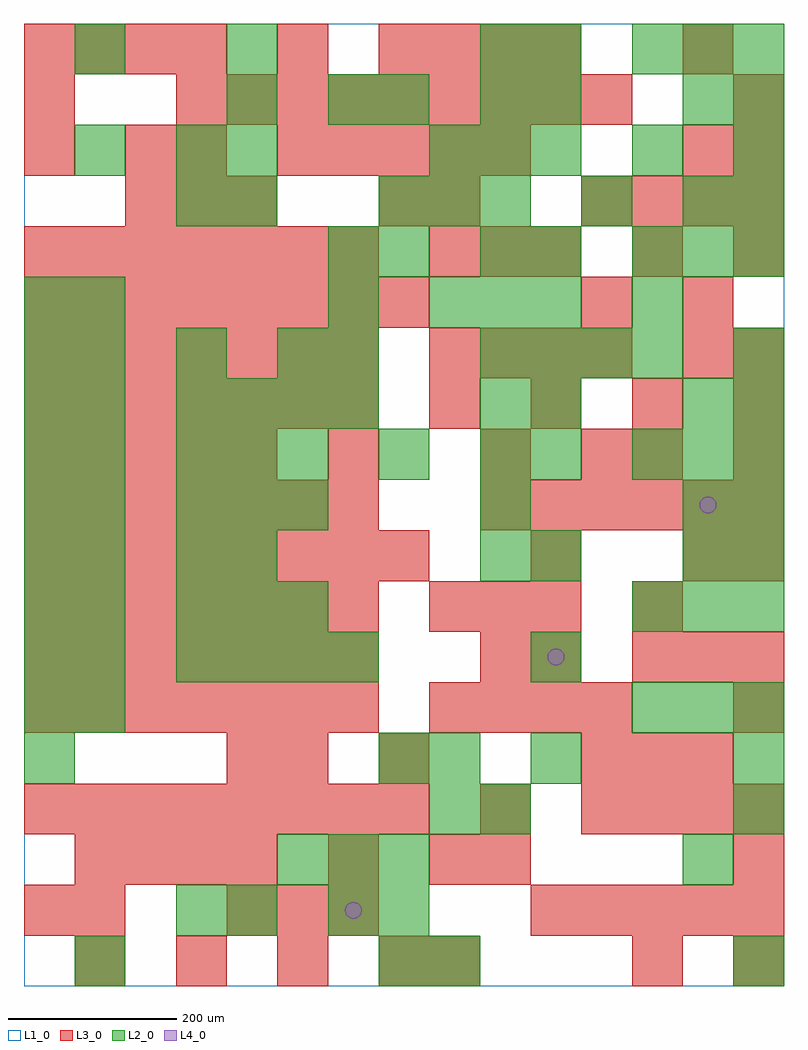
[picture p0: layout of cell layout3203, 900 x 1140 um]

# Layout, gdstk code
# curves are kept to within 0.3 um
import gdstk
lib = gdstk.Library(unit=1e-6, precision=1e-09)
def R(c, l, rs):  # rectangles x0, y0, x1, y1
    for r in rs: c.add(gdstk.rectangle(r[:2], r[2:], *l))
def A(c, l, x, y, w, h, nx, ny, dx, dy):  # array of equal rectangles
    R(c, l, [(x+i*dx, y+j*dy, x+i*dx+w, y+j*dy+h) for i in range(nx) for j in range(ny)])
def P(c, l, *ps):  # polygons
    for p in ps: c.add(gdstk.Polygon(p, *l))
L1_0 = (1, 0)
L2_0 = (2, 0)
L3_0 = (3, 0)
L4_0 = (4, 0)

layout3203 = lib.new_cell('layout3203')
R(layout3203, L1_0, [(0,0,900,1140)])
A(layout3203, L2_0, 180, 60, 60, 60, 1, 3, 0, 420)
A(layout3203, L2_0, 240, 60, 60, 60, 1, 3, 0, 420)
A(layout3203, L2_0, 300, 120, 60, 60, 3, 1, 60, 0)
A(layout3203, L2_0, 0, 240, 60, 60, 1, 10, 0, 60)
A(layout3203, L2_0, 600, 240, 60, 60, 1, 4, 0, 120)
A(layout3203, L2_0, 60, 300, 60, 60, 1, 7, 0, 60)
A(layout3203, L2_0, 720, 300, 60, 60, 3, 2, 60, 120)
A(layout3203, L2_0, 180, 360, 60, 60, 4, 2, 60, 300)
A(layout3203, L2_0, 180, 420, 60, 60, 3, 2, 60, 120)
A(layout3203, L2_0, 540, 480, 60, 60, 1, 4, 0, 60)
A(layout3203, L2_0, 180, 600, 60, 60, 3, 1, 60, 0)
A(layout3203, L2_0, 720, 600, 60, 60, 3, 3, 60, 240)
A(layout3203, L2_0, 600, 660, 60, 60, 1, 3, 0, 180)
A(layout3203, L2_0, 60, 720, 60, 60, 3, 1, 120, 0)
A(layout3203, L2_0, 360, 720, 60, 60, 1, 3, 0, 60)
A(layout3203, L2_0, 540, 720, 60, 60, 4, 1, 60, 0)
A(layout3203, L2_0, 480, 780, 60, 60, 3, 2, 60, 180)
A(layout3203, L2_0, 420, 900, 60, 60, 3, 1, 60, 0)
A(layout3203, L2_0, 840, 900, 60, 60, 1, 3, 0, 60)
A(layout3203, L2_0, 240, 960, 60, 60, 1, 3, 0, 60)
R(layout3203, L2_0, [(60,0,120,60), (420,0,480,60), (480,0,540,60), (840,0,900,60), (360,60,420,120), (420,60,480,120), (780,120,840,180), (480,180,540,240), (540,180,600,240), (840,180,900,240), (420,240,480,300), (480,240,540,300), (840,240,900,300), (780,480,840,540), (840,480,900,540), (780,540,840,600), (840,540,900,600), (420,600,480,660), (780,660,840,720), (840,660,900,720), (840,720,900,780), (60,780,120,840), (720,780,780,840), (420,840,480,900), (540,840,600,900), (660,900,720,960), (780,900,840,960), (60,960,120,1020), (180,960,240,1020), (720,960,780,1020), (360,1020,420,1080), (420,1020,480,1080), (540,1020,600,1080), (780,1020,840,1080), (60,1080,120,1140), (540,1080,600,1140), (600,1080,660,1140)])
A(layout3203, L3_0, 60, 0, 60, 60, 4, 1, 120, 0)
A(layout3203, L3_0, 240, 60, 60, 60, 3, 1, 60, 0)
A(layout3203, L3_0, 600, 60, 60, 60, 5, 1, 60, 0)
A(layout3203, L3_0, 60, 120, 60, 60, 4, 1, 60, 0)
A(layout3203, L3_0, 840, 120, 60, 60, 1, 3, 0, 180)
A(layout3203, L3_0, 0, 180, 60, 60, 8, 3, 60, 300)
A(layout3203, L3_0, 660, 180, 60, 60, 4, 2, 60, 720)
A(layout3203, L3_0, 660, 240, 60, 60, 3, 1, 60, 0)
A(layout3203, L3_0, 0, 300, 60, 60, 7, 3, 60, 60)
A(layout3203, L3_0, 480, 300, 60, 60, 4, 2, 60, 420)
A(layout3203, L3_0, 720, 360, 60, 60, 3, 1, 60, 0)
A(layout3203, L3_0, 480, 420, 60, 60, 3, 2, 60, 420)
A(layout3203, L3_0, 0, 540, 60, 60, 7, 2, 60, 120)
A(layout3203, L3_0, 540, 540, 60, 60, 6, 1, 60, 0)
A(layout3203, L3_0, 0, 600, 60, 60, 5, 1, 60, 0)
A(layout3203, L3_0, 840, 600, 60, 60, 1, 4, 0, 120)
A(layout3203, L3_0, 480, 660, 60, 60, 4, 1, 120, 0)
A(layout3203, L3_0, 0, 720, 60, 60, 7, 2, 60, 120)
A(layout3203, L3_0, 120, 900, 60, 60, 3, 1, 60, 0)
A(layout3203, L3_0, 300, 960, 60, 60, 5, 1, 60, 0)
A(layout3203, L3_0, 180, 1020, 60, 60, 9, 1, 60, 0)
A(layout3203, L3_0, 0, 1080, 60, 60, 4, 1, 60, 0)
A(layout3203, L3_0, 420, 1080, 60, 60, 4, 1, 60, 0)
R(layout3203, L3_0, [(480,0,540,60), (720,0,780,60), (840,0,900,60), (0,60,60,120), (60,60,120,120), (360,120,420,180), (480,120,540,180), (540,120,600,180), (540,180,600,240), (240,240,300,300), (300,240,360,300), (420,240,480,300), (540,360,600,420), (600,360,660,420), (720,420,780,480), (600,480,660,540), (780,480,840,540), (360,600,420,660), (540,600,600,660), (660,600,720,660), (720,600,780,660), (780,720,840,780), (660,780,720,840), (780,780,840,840), (720,840,780,900), (420,900,480,960), (480,900,540,960), (0,960,60,1020), (120,960,180,1020), (180,960,240,1020), (780,960,840,1020), (0,1020,60,1080), (840,1020,900,1080), (300,1080,360,1140), (780,1080,840,1140)])
P(layout3203, L4_0, [(400,90),(399.239,93.827),(397.071,97.071),(393.827,99.239),(390,100),(386.173,99.239),(382.929,97.071),(380.761,93.827),(380,90),(380.761,86.173),(382.929,82.929),(386.173,80.761),(390,80),(393.827,80.761),(397.071,82.929),(399.239,86.173)],
  [(640,390),(639.239,393.827),(637.071,397.071),(633.827,399.239),(630,400),(626.173,399.239),(622.929,397.071),(620.761,393.827),(620,390),(620.761,386.173),(622.929,382.929),(626.173,380.761),(630,380),(633.827,380.761),(637.071,382.929),(639.239,386.173)],
  [(820,570),(819.239,573.827),(817.071,577.071),(813.827,579.239),(810,580),(806.173,579.239),(802.929,577.071),(800.761,573.827),(800,570),(800.761,566.173),(802.929,562.929),(806.173,560.761),(810,560),(813.827,560.761),(817.071,562.929),(819.239,566.173)])

lib.write_gds('layout3203.gds')
